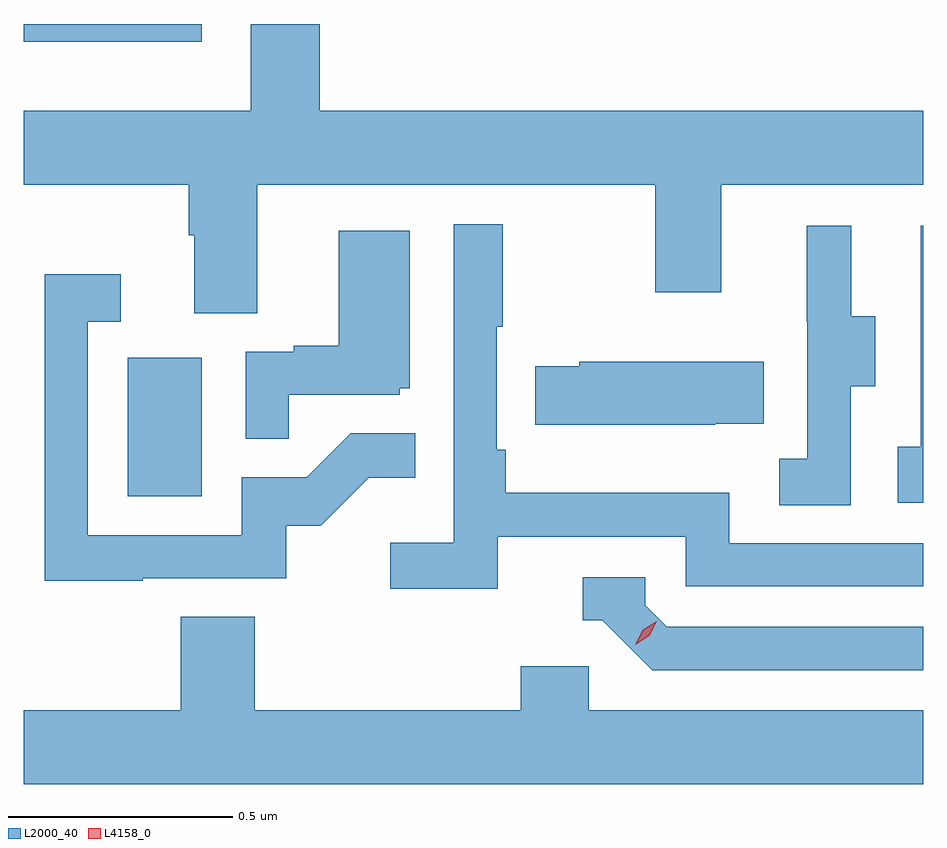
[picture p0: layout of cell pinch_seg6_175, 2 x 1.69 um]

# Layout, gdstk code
import gdstk
lib = gdstk.Library(unit=1e-6, precision=1e-09)
def R(c, l, rs):  # rectangles x0, y0, x1, y1
    for r in rs: c.add(gdstk.rectangle(r[:2], r[2:], *l))
def P(c, l, *ps):  # polygons
    for p in ps: c.add(gdstk.Polygon(p, *l))
L2000_40 = (2000, 40)
L4158_0 = (4158, 0)

pinch_seg6_175 = lib.new_cell('pinch_seg6_175')
R(pinch_seg6_175, L2000_40, [(1067.306,927.996,1067.47,928.303), (1067.074,929.006,1067.47,929.045)])
P(pinch_seg6_175, L2000_40, [(1067.593,928.688),(1068.478,928.688),(1068.478,928.449),(1068.625,928.449),(1068.625,928.688),(1069.074,928.688),(1069.074,928.852),(1067.732,928.852),(1067.732,929.045),(1067.579,929.045),(1067.579,928.852),(1067.074,928.852),(1067.074,928.688),(1067.441,928.688),(1067.441,928.576),(1067.453,928.576),(1067.453,928.402),(1067.593,928.402)],
  [(1068.128,927.906),(1068.546,927.906),(1068.546,927.795),(1069.074,927.795),(1069.074,927.891),(1068.642,927.891),(1068.642,928.003),(1068.146,928.003),(1068.146,928.099),(1068.126,928.099),(1068.126,928.372),(1068.139,928.372),(1068.139,928.6),(1068.03,928.6),(1068.03,927.892),(1067.889,927.892),(1067.889,927.79),(1068.128,927.79)],
  [(1069.074,928.597),(1069.068,928.597),(1069.068,928.106),(1069.017,928.106),(1069.017,927.981),(1069.074,927.981)],
  [(1068.912,928.24),(1068.967,928.24),(1068.967,928.395),(1068.913,928.395),(1068.913,928.597),(1068.815,928.597),(1068.815,928.383),(1068.816,928.383),(1068.816,928.079),(1068.753,928.079),(1068.753,927.976),(1068.912,927.976)],
  [(1067.663,928.221),(1067.91,928.221),(1067.91,928.236),(1067.932,928.236),(1067.932,928.585),(1067.774,928.585),(1067.774,928.33),(1067.675,928.33),(1067.675,928.317),(1067.568,928.317),(1067.568,928.123),(1067.663,928.123)],
  [(1067.339,927.813),(1067.658,927.813),(1067.658,927.93),(1067.734,927.93),(1067.841,928.037),(1067.945,928.037),(1067.945,928.136),(1067.801,928.136),(1067.703,928.038),(1067.559,928.038),(1067.559,927.909),(1067.217,927.909),(1067.217,928.383),(1067.29,928.383),(1067.29,928.489),(1067.121,928.489),(1067.121,927.808),(1067.339,927.808)],
  [(1068.611,928.157),(1068.719,928.157),(1068.719,928.294),(1068.309,928.294),(1068.309,928.284),(1068.211,928.284),(1068.211,928.154),(1068.611,928.154)],
  [(1069.074,927.705),(1068.504,927.705),(1068.456,927.753),(1068.456,927.816),(1068.317,927.816),(1068.317,927.72),(1068.36,927.72),(1068.471,927.609),(1069.074,927.609)],
  [(1069.074,927.52),(1068.33,927.52),(1068.33,927.618),(1068.179,927.618),(1068.179,927.52),(1067.588,927.52),(1067.588,927.728),(1067.423,927.728),(1067.423,927.52),(1067.074,927.52),(1067.074,927.356),(1069.074,927.356)])
P(pinch_seg6_175, L4158_0, [(1068.434,927.666),(1068.434,927.666),(1068.45,927.699),(1068.481,927.718),(1068.481,927.718),(1068.481,927.718),(1068.465,927.685),(1068.434,927.666)])

lib.write_gds('pinch_seg6_175.gds')
